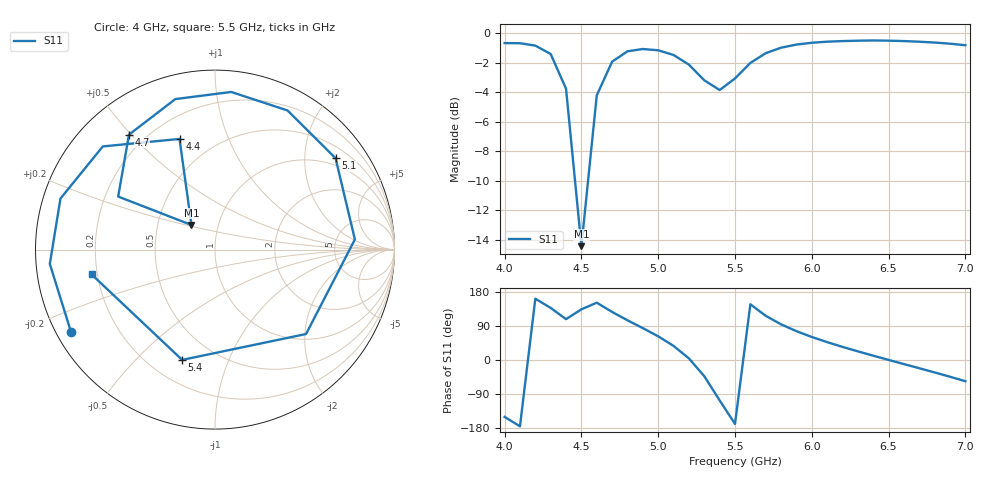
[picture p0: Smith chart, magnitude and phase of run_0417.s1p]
! Touchstone file exported from HFSS 2024.2.0
!  File:  C:/Users/wsak9/Desktop/Sim Fast/Widenad Patch/WP_AI_V1_sweep.aedt
!  Generated:  09:02:01 AM Oct 14, 2026
!  Design:  A1_model
!  Project:  WP_AI_V1_sweep
!  Setup:  Setup1
!  Solution:  Sweep
! Variables:
!  Air_gap = 2.54mm
!  Curve_Amp1 = 3.83
!  Curve_len1 = 1
!  Curve_pos = 12.475mm
!  Extra = 1.34mm
!  H_sub = 0.79mm
!  L_Patch = 20.95mm
!  L_Patch1 = 12.65mm
!  Sx = 1.67mm
!  Sy = 0.96mm
!  WS = 0.84mm
!  W_Patch = 20.18mm
!  W_Patch1 = 11.31mm
!Data is not renormalized
# GHz S MA
! Terminal data exported
! Port[1] = 1
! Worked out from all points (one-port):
!   31 points, 4 GHz to 7 GHz, reference per port
!   lowest |S11| = -14.4 dB at 4.5 GHz (marker M1), VSWR 1.47
!   |S11| at or under -10 dB: 4.458 GHz to 4.543 GHz (85.1 MHz wide, 1.89 % of centre)
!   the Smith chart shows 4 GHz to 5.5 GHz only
!   S11 on the Smith chart (normalised r, x): 4 GHz: 0.04, -0.27; 4.4 GHz: 0.32, +0.68; 4.7 GHz: 0.14, +0.49; 5.1 GHz: 0.79, +2.77; 5.4 GHz: 0.33, -0.69; 5.5 GHz: 0.18, -0.10
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4  0.9246 -150.1
4.1  0.9237 -175.0
4.2  0.9067 161.7
4.3  0.8492 137.4
4.4  0.6475 107.8
4.5  0.1896 133.7
4.6  0.6151 151.3
4.7  0.8 126.8
4.8  0.8672 104.8
4.9  0.8829 84.1
5  0.8742 62.5
5.1  0.8428 37.2
5.2  0.7814 4.2
5.3  0.6918 -42.8
5.4  0.6411 -106.6
5.5  0.7017 -168.7
5.6  0.7921 147.0
5.7  0.8548 116.6
5.8  0.8921 94.1
5.9  0.914 76.1
6  0.9271 60.8
6.1  0.9349 47.1
6.2  0.9393 34.6
6.3  0.9421 22.8
6.5  0.9424 0.2
6.7  0.9347 -21.8
6.8  0.9286 -32.9
7  0.9096 -55.9
